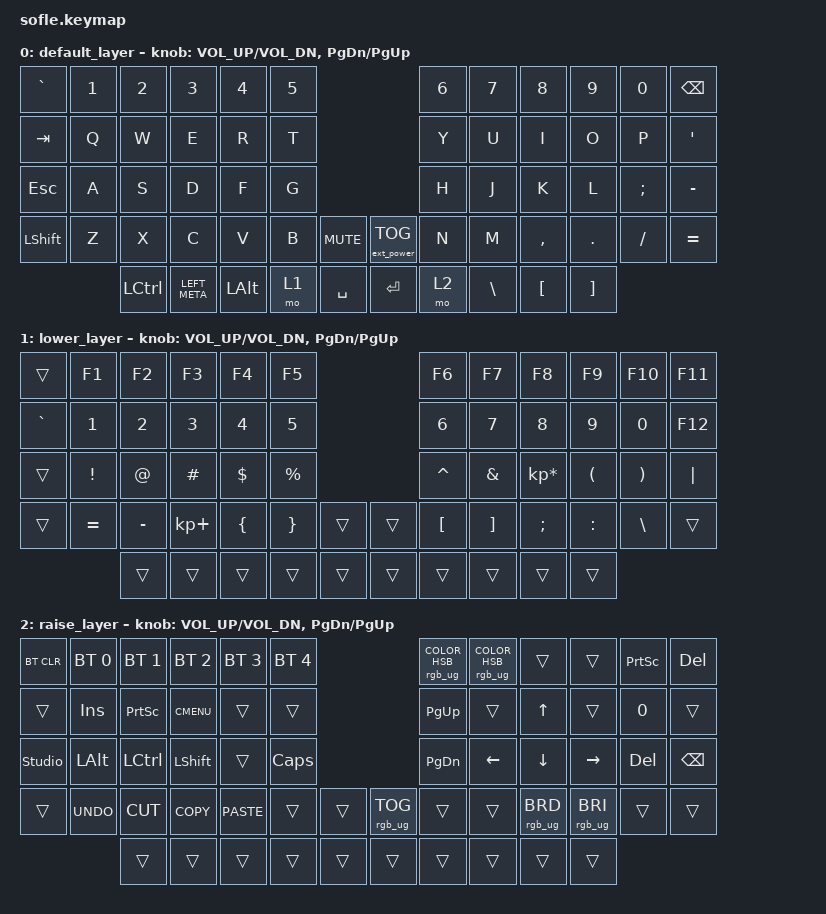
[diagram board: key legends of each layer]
/*
 * Copyright (c) 2020 The ZMK Contributors
 *
 * SPDX-License-Identifier: MIT
 */
/*
 * Temporarily here because nice nano v2 spi is not defined on ZMK Yet
 * Source: https://github.com/zmkfirmware/zmk/blob/main/app/boards/shields/reviung41/boards/nice_nano.overlay
 * GitHub Issue: https://github.com/zmkfirmware/zmk/issues/885
 */

#include <dt-bindings/led/led.h>
#include <behaviors.dtsi>
#include <dt-bindings/zmk/bt.h>
#include <dt-bindings/zmk/ext_power.h>
#include <dt-bindings/zmk/keys.h>
#include <dt-bindings/zmk/rgb.h>

&pinctrl {
    spi3_default: spi3_default {
        group1 { psels = <NRF_PSEL(SPIM_MOSI, 0, 8)>; };
    };

    spi3_sleep: spi3_sleep {
        group1 {
            psels = <NRF_PSEL(SPIM_MOSI, 0, 8)>;
            low-power-enable;
        };
    };
};

&spi3 {
    compatible = "nordic,nrf-spim";
    status = "okay";
    pinctrl-0 = <&spi3_default>;
    pinctrl-1 = <&spi3_sleep>;
    pinctrl-names = "default", "sleep";

    led_strip: ws2812@0 {
        compatible = "worldsemi,ws2812-spi";
        label = "WS2812";

        /* SPI */

        reg = <0>; /* ignored, but necessary for SPI bindings */
        spi-max-frequency = <4000000>;

        /* WS2812 */

        chain-length = <30>;
        spi-one-frame = <0x70>;
        spi-zero-frame = <0x40>;
        color-mapping = <LED_COLOR_ID_GREEN LED_COLOR_ID_RED LED_COLOR_ID_BLUE>;
    };
};

/ {
    chosen { zmk,underglow = &led_strip; };
};

/* END temporary RGB support section */

/ {
    keymap {
        compatible = "zmk,keymap";

        default_layer {
            // ------------------------------------------------------------------------------------------------------------------
            // |  `    |  1  |  2  |  3   |  4   |  5   |                         |  6   |  7    |  8    |  9   |   0   |       |
            // |  ESC  |  Q  |  W  |  E   |  R   |  T   |                         |  Y   |  U    |  I    |  O   |   P   | BKSPC |
            // |  TAB  |  A  |  S  |  D   |  F   |  G   |                         |  H   |  J    |  K    |  L   |   ;   |   '   |
            // | SHIFT |  Z  |  X  |  C   |  V   |  B   |  MUTE  |        | ExtPw |  N   |  M    |  ,    |  .   |   /   | SHIFT |
            //               | GUI | ALT  | CTRL | LOWER|  ENTER |        | SPACE | RAISE| CTRL  | ALT   | GUI  |

            bindings = <
&kp GRAVE  &kp N1  &kp N2            &kp N3         &kp N4        &kp N5                                   &kp N6  &kp N7         &kp N8            &kp N9             &kp N0    &kp BSPC
&kp TAB    &kp Q   &kp W             &kp E          &kp R         &kp T                                    &kp Y   &kp U          &kp I             &kp O              &kp P     &kp SINGLE_QUOTE
&kp ESC    &kp A   &kp S             &kp D          &kp F         &kp G                                    &kp H   &kp J          &kp K             &kp L              &kp SEMI  &kp MINUS
&kp LSHFT  &kp Z   &kp X             &kp C          &kp V         &kp B   &kp C_MUTE    &ext_power EP_TOG  &kp N   &kp M          &kp COMMA         &kp DOT            &kp FSLH  &kp EQUAL
                   &kp LEFT_CONTROL  &kp LEFT_META  &kp LEFT_ALT  &mo 1   &kp SPACE     &kp RET            &mo 2   &kp BACKSLASH  &kp LEFT_BRACKET  &kp RIGHT_BRACKET
            >;

            sensor-bindings =
                <&inc_dec_kp C_VOL_UP C_VOL_DN>,
                <&inc_dec_kp PAGE_DOWN PAGE_UP>;
        };

        lower_layer {
            // TODO: Some binds are waiting for shifted keycode support.
            // ------------------------------------------------------------------------------------------------------------
            // |       |  F1 |  F2 |  F3  |  F4  |  F5  |                   |  F6  |  F7   |  F8   |  F9  |  F10  |  F11  |
            // | `     |   1 |   2 |   3  |   4  |   5  |                   |   6  |   7   |   8   |   9  |    0  |  F12  |
            // |       |  !  |  @  |  #   |  $   |  %   |                   |  ^   |  &    |  *    |  (   |   )   |   |   |
            // |       |  =  |  -  |  +   |  {   |  }   |        |  |       |  [   |  ]    |  ;    |  :   |   \   |       |
            //               |     |      |      |      |        |  |       |      |       |       |      |

            bindings = <
&trans     &kp F1     &kp F2     &kp F3       &kp F4    &kp F5                       &kp F6     &kp F7    &kp F8           &kp F9     &kp F10   &kp F11
&kp GRAVE  &kp N1     &kp N2     &kp N3       &kp N4    &kp N5                       &kp N6     &kp N7    &kp N8           &kp N9     &kp N0    &kp F12
&trans     &kp EXCL   &kp AT     &kp HASH     &kp DLLR  &kp PRCNT                    &kp CARET  &kp AMPS  &kp KP_MULTIPLY  &kp LPAR   &kp RPAR  &kp PIPE
&trans     &kp EQUAL  &kp MINUS  &kp KP_PLUS  &kp LBRC  &kp RBRC   &trans    &trans  &kp LBKT   &kp RBKT  &kp SEMI         &kp COLON  &kp BSLH  &trans
                      &trans     &trans       &trans    &trans     &trans    &trans  &trans     &trans    &trans           &trans
            >;

            sensor-bindings =
                <&inc_dec_kp C_VOL_UP C_VOL_DN>,
                <&inc_dec_kp PAGE_DOWN PAGE_UP>;
        };

        raise_layer {
            // ------------------------------------------------------------------------------------------------------------
            // |BTCLR| BT1  | BT2  |  BT3  |  BT4  |  BT5 |                 |      |      |       |      |       |       |
            // |     | INS  | PSCR | GUI   |       |      |                 | PGUP |      |   ^   |      |       |       |
            // |     | ALT  | CTRL | SHIFT |       | CAPS |                 | PGDN |   <- |   v   |  ->  |  DEL  | BKSPC |
            // |     | UNDO | CUT  | COPY  | PASTE |      |      |   | RGB  |      |      |       |      |       |       |
            //              |      |       |       |      |      |   |      |      |      |       |      |

            bindings = <
&bt BT_CLR      &bt BT_SEL 0  &bt BT_SEL 1  &bt BT_SEL 2  &bt BT_SEL 3  &bt BT_SEL 4                             &rgb_ug RGB_COLOR_HSB(227,100,50)  &rgb_ug RGB_COLOR_HSB(0,0,100)  &trans           &trans           &kp PRINTSCREEN  &kp DELETE
&trans          &kp INS       &kp PSCRN     &kp K_CMENU   &trans        &trans                                   &kp PG_UP                          &trans                          &kp UP           &trans           &kp N0           &trans
&studio_unlock  &kp LALT      &kp LCTRL     &kp LSHFT     &trans        &kp CLCK                                 &kp PG_DN                          &kp LEFT                        &kp DOWN         &kp RIGHT        &kp DEL          &kp BSPC
&trans          &kp K_UNDO    &kp K_CUT     &kp K_COPY    &kp K_PASTE   &trans        &trans    &rgb_ug RGB_TOG  &trans                             &trans                          &rgb_ug RGB_BRD  &rgb_ug RGB_BRI  &trans           &trans
                              &trans        &trans        &trans        &trans        &trans    &trans           &trans                             &trans                          &trans           &trans
            >;

            sensor-bindings =
                <&inc_dec_kp C_VOL_UP C_VOL_DN>,
                <&inc_dec_kp PAGE_DOWN PAGE_UP>;
        };
    };
};
